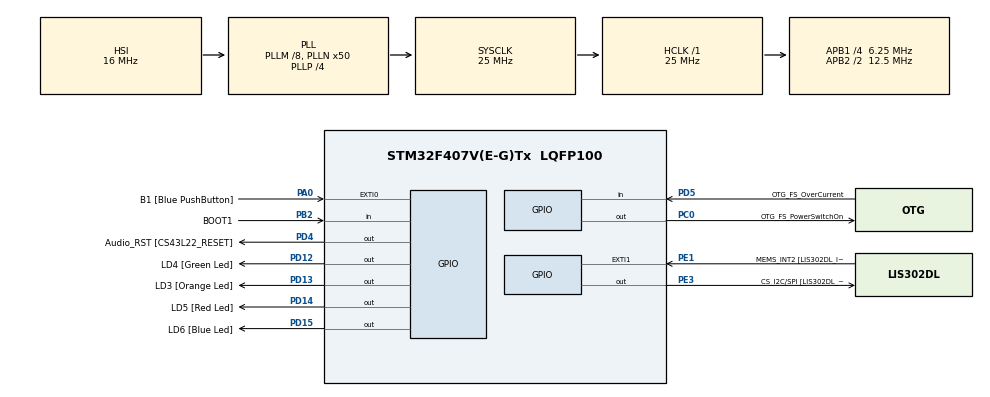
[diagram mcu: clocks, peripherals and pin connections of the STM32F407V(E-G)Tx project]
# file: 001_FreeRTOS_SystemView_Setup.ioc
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Mcu.Family=STM32F4
Mcu.Name=STM32F407V(E-G)Tx
Mcu.Package=LQFP100
NVIC.PriorityGroup=NVIC_PRIORITYGROUP_4
NVIC.TIM6_DAC_IRQn=true\:15\:0\:false\:false\:true\:false\:true\:true
NVIC.TimeBase=TIM6_DAC_IRQn
NVIC.TimeBaseIP=TIM6
PA0-WKUP.GPIO_Label=B1 [Blue PushButton]
PA0-WKUP.Signal=GPXTI0
PA10.GPIO_Label=OTG_FS_ID
PA10.GPIO_Mode=GPIO_MODE_AF_PP
PA10.GPIO_PuPd=GPIO_NOPULL
PA10.GPIO_Speed=GPIO_SPEED_FREQ_LOW
PA10.Signal=USB_OTG_FS_ID
PA11.GPIO_Label=OTG_FS_DM
PA11.GPIO_Mode=GPIO_MODE_AF_PP
PA11.GPIO_PuPd=GPIO_NOPULL
PA11.GPIO_Speed=GPIO_SPEED_FREQ_LOW
PA11.Signal=USB_OTG_FS_DM
PA12.GPIO_Label=OTG_FS_DP
PA12.GPIO_Mode=GPIO_MODE_AF_PP
PA12.GPIO_PuPd=GPIO_NOPULL
PA12.GPIO_Speed=GPIO_SPEED_FREQ_LOW
PA12.Signal=USB_OTG_FS_DP
PA13.GPIO_Label=SWDIO
PA13.Mode=Serial_Wire
PA13.Signal=SYS_JTMS-SWDIO
PA14.GPIO_Label=SWCLK
PA14.Mode=Serial_Wire
PA14.Signal=SYS_JTCK-SWCLK
PA4.GPIO_Label=I2S3_WS [CS43L22_LRCK]
PA4.GPIO_Mode=GPIO_MODE_AF_PP
PA4.GPIO_PuPd=GPIO_NOPULL
PA4.GPIO_Speed=GPIO_SPEED_FREQ_LOW
PA4.Signal=I2S3_WS
PA5.GPIO_Label=SPI1_SCK [LIS302DL_SCL/SPC]
PA5.GPIO_Mode=GPIO_MODE_AF_PP
PA5.GPIO_PuPd=GPIO_NOPULL
PA5.GPIO_Speed=GPIO_SPEED_FREQ_LOW
PA5.Signal=SPI1_SCK
PA6.GPIO_Label=SPI1_MISO [LIS302DL_SDO]
PA6.GPIO_Mode=GPIO_MODE_AF_PP
PA6.GPIO_PuPd=GPIO_NOPULL
PA6.GPIO_Speed=GPIO_SPEED_FREQ_LOW
PA6.Signal=SPI1_MISO
PA7.GPIO_Label=SPI1_MOSI [LIS302DL_SDA/SDI/SDO]
PA7.GPIO_Mode=GPIO_MODE_AF_PP
PA7.GPIO_PuPd=GPIO_NOPULL
PA7.GPIO_Speed=GPIO_SPEED_FREQ_LOW
PA7.Signal=SPI1_MOSI
PA9.GPIO_Label=VBUS_FS
PA9.GPIO_Mode=GPIO_MODE_INPUT
PA9.GPIO_PuPd=GPIO_NOPULL
PA9.Signal=USB_OTG_FS_VBUS
PB10.GPIO_Label=CLK_IN [MP45DT02_CLK]
PB10.GPIO_Mode=GPIO_MODE_AF_PP
PB10.GPIO_PuPd=GPIO_NOPULL
PB10.GPIO_Speed=GPIO_SPEED_FREQ_LOW
PB10.Signal=I2S2_CK
PB2.GPIO_Label=BOOT1
PB2.GPIO_Mode=GPIO_MODE_INPUT
PB2.GPIO_PuPd=GPIO_NOPULL
PB2.Signal=GPIO_Input
PB3.GPIO_Label=SWO
PB3.Signal=SYS_JTDO-SWO
PB6.GPIO_Label=Audio_SCL [CS43L22_SCL]
PB6.GPIO_Mode=GPIO_MODE_AF_OD
PB6.GPIO_PuPd=GPIO_NOPULL
PB6.GPIO_Speed=GPIO_SPEED_FREQ_LOW
PB6.Signal=I2C1_SCL
PB9.GPIO_Label=Audio_SDA [CS43L22_SDA]
PB9.GPIO_Mode=GPIO_MODE_AF_OD
PB9.GPIO_PuPd=GPIO_NOPULL
PB9.GPIO_Speed=GPIO_SPEED_FREQ_LOW
PB9.Signal=I2C1_SDA
PC0.GPIO_Label=OTG_FS_PowerSwitchOn
PC0.GPIO_PuPd=GPIO_NOPULL
PC0.GPIO_Speed=GPIO_SPEED_FREQ_LOW
PC0.PinState=GPIO_PIN_SET
PC0.Signal=GPIO_Output
PC10.GPIO_Label=I2S3_SCK [CS43L22_SCLK]
PC10.GPIO_Mode=GPIO_MODE_AF_PP
PC10.GPIO_PuPd=GPIO_NOPULL
PC10.GPIO_Speed=GPIO_SPEED_FREQ_LOW
PC10.Signal=I2S3_CK
PC12.GPIO_Label=I2S3_SD [CS43L22_SDIN]
PC12.GPIO_Mode=GPIO_MODE_AF_PP
PC12.GPIO_PuPd=GPIO_NOPULL
PC12.GPIO_Speed=GPIO_SPEED_FREQ_LOW
PC12.Signal=I2S3_SD
PC14-OSC32_IN.GPIO_Label=PC14-OSC32_IN
PC14-OSC32_IN.Signal=RCC_OSC32_IN
PC15-OSC32_OUT.GPIO_Label=PC15-OSC32_OUT
PC15-OSC32_OUT.Signal=RCC_OSC32_OUT
PC3.GPIO_Label=PDM_OUT [MP45DT02_DOUT]
PC3.GPIO_Mode=GPIO_MODE_AF_PP
PC3.GPIO_PuPd=GPIO_NOPULL
PC3.GPIO_Speed=GPIO_SPEED_FREQ_LOW
PC3.Signal=I2S2_SD
PC7.GPIO_Label=I2S3_MCK [CS43L22_MCLK]
PC7.GPIO_Mode=GPIO_MODE_AF_PP
PC7.GPIO_PuPd=GPIO_NOPULL
PC7.GPIO_Speed=GPIO_SPEED_FREQ_LOW
PC7.Signal=I2S3_MCK
PD12.GPIO_Label=LD4 [Green Led]
PD12.GPIO_PuPd=GPIO_NOPULL
PD12.GPIO_Speed=GPIO_SPEED_FREQ_LOW
PD12.Signal=GPIO_Output
PD13.GPIO_Label=LD3 [Orange Led]
PD13.GPIO_PuPd=GPIO_NOPULL
PD13.GPIO_Speed=GPIO_SPEED_FREQ_LOW
PD13.Signal=GPIO_Output
PD14.GPIO_Label=LD5 [Red Led]
PD14.GPIO_PuPd=GPIO_NOPULL
PD14.GPIO_Speed=GPIO_SPEED_FREQ_LOW
PD14.Signal=GPIO_Output
PD15.GPIO_Label=LD6 [Blue Led]
PD15.GPIO_PuPd=GPIO_NOPULL
PD15.GPIO_Speed=GPIO_SPEED_FREQ_LOW
PD15.Signal=GPIO_Output
PD4.GPIO_Label=Audio_RST [CS43L22_RESET]
PD4.GPIO_PuPd=GPIO_NOPULL
PD4.GPIO_Speed=GPIO_SPEED_FREQ_LOW
PD4.Signal=GPIO_Output
PD5.GPIO_Label=OTG_FS_OverCurrent
PD5.GPIO_Mode=GPIO_MODE_INPUT
PD5.GPIO_PuPd=GPIO_NOPULL
PD5.Signal=GPIO_Input
PE1.GPIO_Label=MEMS_INT2 [LIS302DL_INT2]
PE1.GPIO_ModeDefaultEXTI=GPIO_MODE_EVT_RISING
PE1.GPIO_PuPd=GPIO_NOPULL
PE1.Signal=GPXTI1
PE3.GPIO_Label=CS_I2C/SPI [LIS302DL_CS_I2C/SPI]
PE3.GPIO_PuPd=GPIO_NOPULL
PE3.GPIO_Speed=GPIO_SPEED_FREQ_LOW
PE3.Signal=GPIO_Output
PH0-OSC_IN.GPIO_Label=PH0-OSC_IN
PH0-OSC_IN.Signal=RCC_OSC_IN
PH1-OSC_OUT.GPIO_Label=PH1-OSC_OUT
PH1-OSC_OUT.Signal=RCC_OSC_OUT
ProjectManager.HeapSize=0x200
ProjectManager.StackSize=0x400
ProjectManager.TargetToolchain=STM32CubeIDE
RCC.48MHZClocksFreq_Value=14285714.285714285
RCC.AHBFreq_Value=25000000
RCC.APB1CLKDivider=RCC_HCLK_DIV4
RCC.APB1Freq_Value=6250000
RCC.APB1TimFreq_Value=12500000
RCC.APB2CLKDivider=RCC_HCLK_DIV2
RCC.APB2Freq_Value=12500000
RCC.APB2TimFreq_Value=25000000
RCC.CortexFreq_Value=25000000
RCC.HCLKFreq_Value=25000000
RCC.HSE_VALUE=8000000
RCC.HSI_VALUE=16000000
RCC.LSE_VALUE=32768
RCC.PLLM=8
RCC.PLLN=50
RCC.PLLP=RCC_PLLP_DIV4
RCC.PLLQ=7
RCC.SYSCLKFreq_VALUE=25000000
RCC.SYSCLKSource=RCC_SYSCLKSOURCE_PLLCLK
RCC.VCOOutputFreq_Value=100000000
VP_SYS_VS_tim6.Mode=TIM6
board=STM32F407G-DISC1

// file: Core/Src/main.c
/* USER CODE BEGIN Header */
/**
  ******************************************************************************
  * @file           : main.c
  * @brief          : Main program body
  ******************************************************************************
  * @attention
  *
  * <h2><center>&copy; Copyright (c) 2021 STMicroelectronics.
  * All rights reserved.</center></h2>
  *
  * This software component is licensed by ST under BSD 3-Clause license,
  * the "License"; You may not use this file except in compliance with the
  * License. You may obtain a copy of the License at:
  *                        opensource.org/licenses/BSD-3-Clause
  *
  ******************************************************************************
  */
/* USER CODE END Header */
#include "main.h"

/* USER CODE BEGIN Includes */
#include <stdio.h>
#include "FreeRTOS.h"
#include "task.h"

/* USER CODE END Includes */

/* USER CODE BEGIN PV */

#define DWT_CTRL    (*(volatile uint32_t*)0xE0001000)

/* USER CODE END PV */

void SystemClock_Config(void);
static void MX_GPIO_Init(void);
/* USER CODE BEGIN PFP */

static void task1_handler(void* parameters);
static void task2_handler(void* parameters);

//extern  void SEGGER_UART_init(uint32_t);

/* USER CODE END PFP */

int main(void)
{
  /* USER CODE BEGIN 1 */

	TaskHandle_t task1_handle;
	TaskHandle_t task2_handle;

	BaseType_t status;

  /* USER CODE END 1 */

  /* MCU Configuration--------------------------------------------------------*/

  /* Reset of all peripherals, Initializes the Flash interface and the Systick. */
  HAL_Init();

  /* Configure the system clock */
  SystemClock_Config();

  /* Initialize all configured peripherals */
  MX_GPIO_Init();
  /* USER CODE BEGIN 2 */

  //Enable the CYCCNT counter.
  DWT_CTRL |= ( 1 << 0);

 // SEGGER_UART_init(500000);

  SEGGER_SYSVIEW_Conf();

  SEGGER_SYSVIEW_Start();

  status = xTaskCreate(task1_handler, "Task-1", 200, "Hello world from Task-1", 2, &task1_handle);

  configASSERT(status == pdPASS);

  status = xTaskCreate(task2_handler, "Task-2", 200, "Hello world from Task-2", 2, &task2_handle);

  configASSERT(status == pdPASS);

  //start the freeRTOS scheduler
  vTaskStartScheduler();

  //if the control comes here, then the launch of the scheduler has failed due to
  //insufficient memory in heap

  /* USER CODE END 2 */

  /* Infinite loop */
  while (1)
  {

  }
}

void SystemClock_Config(void)
{
  RCC_OscInitTypeDef RCC_OscInitStruct = {0};
  RCC_ClkInitTypeDef RCC_ClkInitStruct = {0};

  /** Configure the main internal regulator output voltage
  */
  __HAL_RCC_PWR_CLK_ENABLE();
  __HAL_PWR_VOLTAGESCALING_CONFIG(PWR_REGULATOR_VOLTAGE_SCALE1);

  /** Initializes the RCC Oscillators according to the specified parameters
  * in the RCC_OscInitTypeDef structure.
  */
  RCC_OscInitStruct.OscillatorType = RCC_OSCILLATORTYPE_HSI;
  RCC_OscInitStruct.HSIState = RCC_HSI_ON;
  RCC_OscInitStruct.HSICalibrationValue = RCC_HSICALIBRATION_DEFAULT;
  RCC_OscInitStruct.PLL.PLLState = RCC_PLL_ON;
  RCC_OscInitStruct.PLL.PLLSource = RCC_PLLSOURCE_HSI;
  RCC_OscInitStruct.PLL.PLLM = 8;
  RCC_OscInitStruct.PLL.PLLN = 50;
  RCC_OscInitStruct.PLL.PLLP = RCC_PLLP_DIV4;
  RCC_OscInitStruct.PLL.PLLQ = 7;
  if (HAL_RCC_OscConfig(&RCC_OscInitStruct) != HAL_OK)
  {
    Error_Handler();
  }

  /** Initializes the CPU, AHB and APB buses clocks
  */
  RCC_ClkInitStruct.ClockType = RCC_CLOCKTYPE_HCLK|RCC_CLOCKTYPE_SYSCLK
                              |RCC_CLOCKTYPE_PCLK1|RCC_CLOCKTYPE_PCLK2;
  RCC_ClkInitStruct.SYSCLKSource = RCC_SYSCLKSOURCE_PLLCLK;
  RCC_ClkInitStruct.AHBCLKDivider = RCC_SYSCLK_DIV1;
  RCC_ClkInitStruct.APB1CLKDivider = RCC_HCLK_DIV4;
  RCC_ClkInitStruct.APB2CLKDivider = RCC_HCLK_DIV2;

  if (HAL_RCC_ClockConfig(&RCC_ClkInitStruct, FLASH_LATENCY_0) != HAL_OK)
  {
    Error_Handler();
  }
}

static void MX_GPIO_Init(void)
{
  GPIO_InitTypeDef GPIO_InitStruct = {0};

  /* GPIO Ports Clock Enable */
  __HAL_RCC_GPIOE_CLK_ENABLE();
  __HAL_RCC_GPIOC_CLK_ENABLE();
  __HAL_RCC_GPIOH_CLK_ENABLE();
  __HAL_RCC_GPIOA_CLK_ENABLE();
  __HAL_RCC_GPIOB_CLK_ENABLE();
  __HAL_RCC_GPIOD_CLK_ENABLE();

  /*Configure GPIO pin Output Level */
  HAL_GPIO_WritePin(CS_I2C_SPI_GPIO_Port, CS_I2C_SPI_Pin, GPIO_PIN_RESET);

  /*Configure GPIO pin Output Level */
  HAL_GPIO_WritePin(OTG_FS_PowerSwitchOn_GPIO_Port, OTG_FS_PowerSwitchOn_Pin, GPIO_PIN_SET);

  /*Configure GPIO pin Output Level */
  HAL_GPIO_WritePin(GPIOD, LD4_Pin|LD3_Pin|LD5_Pin|LD6_Pin
                          |Audio_RST_Pin, GPIO_PIN_RESET);

  /*Configure GPIO pin : CS_I2C_SPI_Pin */
  GPIO_InitStruct.Pin = CS_I2C_SPI_Pin;
  GPIO_InitStruct.Mode = GPIO_MODE_OUTPUT_PP;
  GPIO_InitStruct.Pull = GPIO_NOPULL;
  GPIO_InitStruct.Speed = GPIO_SPEED_FREQ_LOW;
  HAL_GPIO_Init(CS_I2C_SPI_GPIO_Port, &GPIO_InitStruct);

  /*Configure GPIO pin : OTG_FS_PowerSwitchOn_Pin */
  GPIO_InitStruct.Pin = OTG_FS_PowerSwitchOn_Pin;
  GPIO_InitStruct.Mode = GPIO_MODE_OUTPUT_PP;
  GPIO_InitStruct.Pull = GPIO_NOPULL;
  GPIO_InitStruct.Speed = GPIO_SPEED_FREQ_LOW;
  HAL_GPIO_Init(OTG_FS_PowerSwitchOn_GPIO_Port, &GPIO_InitStruct);

  /*Configure GPIO pin : PDM_OUT_Pin */
  GPIO_InitStruct.Pin = PDM_OUT_Pin;
  GPIO_InitStruct.Mode = GPIO_MODE_AF_PP;
  GPIO_InitStruct.Pull = GPIO_NOPULL;
  GPIO_InitStruct.Speed = GPIO_SPEED_FREQ_LOW;
  GPIO_InitStruct.Alternate = GPIO_AF5_SPI2;
  HAL_GPIO_Init(PDM_OUT_GPIO_Port, &GPIO_InitStruct);

  /*Configure GPIO pin : B1_Pin */
  GPIO_InitStruct.Pin = B1_Pin;
  GPIO_InitStruct.Mode = GPIO_MODE_IT_RISING;
  GPIO_InitStruct.Pull = GPIO_NOPULL;
  HAL_GPIO_Init(B1_GPIO_Port, &GPIO_InitStruct);

  /*Configure GPIO pin : I2S3_WS_Pin */
  GPIO_InitStruct.Pin = I2S3_WS_Pin;
  GPIO_InitStruct.Mode = GPIO_MODE_AF_PP;
  GPIO_InitStruct.Pull = GPIO_NOPULL;
  GPIO_InitStruct.Speed = GPIO_SPEED_FREQ_LOW;
  GPIO_InitStruct.Alternate = GPIO_AF6_SPI3;
  HAL_GPIO_Init(I2S3_WS_GPIO_Port, &GPIO_InitStruct);

  /*Configure GPIO pins : SPI1_SCK_Pin SPI1_MISO_Pin SPI1_MOSI_Pin */
  GPIO_InitStruct.Pin = SPI1_SCK_Pin|SPI1_MISO_Pin|SPI1_MOSI_Pin;
  GPIO_InitStruct.Mode = GPIO_MODE_AF_PP;
  GPIO_InitStruct.Pull = GPIO_NOPULL;
  GPIO_InitStruct.Speed = GPIO_SPEED_FREQ_LOW;
  GPIO_InitStruct.Alternate = GPIO_AF5_SPI1;
  HAL_GPIO_Init(GPIOA, &GPIO_InitStruct);

  /*Configure GPIO pin : BOOT1_Pin */
  GPIO_InitStruct.Pin = BOOT1_Pin;
  GPIO_InitStruct.Mode = GPIO_MODE_INPUT;
  GPIO_InitStruct.Pull = GPIO_NOPULL;
  HAL_GPIO_Init(BOOT1_GPIO_Port, &GPIO_InitStruct);

  /*Configure GPIO pin : CLK_IN_Pin */
  GPIO_InitStruct.Pin = CLK_IN_Pin;
  GPIO_InitStruct.Mode = GPIO_MODE_AF_PP;
  GPIO_InitStruct.Pull = GPIO_NOPULL;
  GPIO_InitStruct.Speed = GPIO_SPEED_FREQ_LOW;
  GPIO_InitStruct.Alternate = GPIO_AF5_SPI2;
  HAL_GPIO_Init(CLK_IN_GPIO_Port, &GPIO_InitStruct);

  /*Configure GPIO pins : LD4_Pin LD3_Pin LD5_Pin LD6_Pin
                           Audio_RST_Pin */
  GPIO_InitStruct.Pin = LD4_Pin|LD3_Pin|LD5_Pin|LD6_Pin
                          |Audio_RST_Pin;
  GPIO_InitStruct.Mode = GPIO_MODE_OUTPUT_PP;
  GPIO_InitStruct.Pull = GPIO_NOPULL;
  GPIO_InitStruct.Speed = GPIO_SPEED_FREQ_LOW;
  HAL_GPIO_Init(GPIOD, &GPIO_InitStruct);

  /*Configure GPIO pins : I2S3_MCK_Pin I2S3_SCK_Pin I2S3_SD_Pin */
  GPIO_InitStruct.Pin = I2S3_MCK_Pin|I2S3_SCK_Pin|I2S3_SD_Pin;
  GPIO_InitStruct.Mode = GPIO_MODE_AF_PP;
  GPIO_InitStruct.Pull = GPIO_NOPULL;
  GPIO_InitStruct.Speed = GPIO_SPEED_FREQ_LOW;
  GPIO_InitStruct.Alternate = GPIO_AF6_SPI3;
  HAL_GPIO_Init(GPIOC, &GPIO_InitStruct);

  /*Configure GPIO pin : VBUS_FS_Pin */
  GPIO_InitStruct.Pin = VBUS_FS_Pin;
  GPIO_InitStruct.Mode = GPIO_MODE_INPUT;
  GPIO_InitStruct.Pull = GPIO_NOPULL;
  HAL_GPIO_Init(VBUS_FS_GPIO_Port, &GPIO_InitStruct);

  /*Configure GPIO pins : OTG_FS_ID_Pin OTG_FS_DM_Pin OTG_FS_DP_Pin */
  GPIO_InitStruct.Pin = OTG_FS_ID_Pin|OTG_FS_DM_Pin|OTG_FS_DP_Pin;
  GPIO_InitStruct.Mode = GPIO_MODE_AF_PP;
  GPIO_InitStruct.Pull = GPIO_NOPULL;
  GPIO_InitStruct.Speed = GPIO_SPEED_FREQ_LOW;
  GPIO_InitStruct.Alternate = GPIO_AF10_OTG_FS;
  HAL_GPIO_Init(GPIOA, &GPIO_InitStruct);

  /*Configure GPIO pin : OTG_FS_OverCurrent_Pin */
  GPIO_InitStruct.Pin = OTG_FS_OverCurrent_Pin;
  GPIO_InitStruct.Mode = GPIO_MODE_INPUT;
  GPIO_InitStruct.Pull = GPIO_NOPULL;
  HAL_GPIO_Init(OTG_FS_OverCurrent_GPIO_Port, &GPIO_InitStruct);

  /*Configure GPIO pins : Audio_SCL_Pin Audio_SDA_Pin */
  GPIO_InitStruct.Pin = Audio_SCL_Pin|Audio_SDA_Pin;
  GPIO_InitStruct.Mode = GPIO_MODE_AF_OD;
  GPIO_InitStruct.Pull = GPIO_NOPULL;
  GPIO_InitStruct.Speed = GPIO_SPEED_FREQ_LOW;
  GPIO_InitStruct.Alternate = GPIO_AF4_I2C1;
  HAL_GPIO_Init(GPIOB, &GPIO_InitStruct);

  /*Configure GPIO pin : MEMS_INT2_Pin */
  GPIO_InitStruct.Pin = MEMS_INT2_Pin;
  GPIO_InitStruct.Mode = GPIO_MODE_EVT_RISING;
  GPIO_InitStruct.Pull = GPIO_NOPULL;
  HAL_GPIO_Init(MEMS_INT2_GPIO_Port, &GPIO_InitStruct);

}

/* USER CODE BEGIN 4 */

static void task1_handler(void* parameters)
{

	char msg[100];

	while(1)
	{
		snprintf(msg,100,"%s\n", (char*)parameters);
		HAL_GPIO_TogglePin(GPIOD, GPIO_PIN_13);
		printf("Task 1 is running\r\n");
	    //HAL_Delay(500);
		SEGGER_SYSVIEW_PrintfTarget(msg);
		taskYIELD();
	}

}

static void task2_handler(void* parameters)
{
	char msg[100];
	while(1)
	{
		snprintf(msg,100,"%s\n", (char*)parameters);
		HAL_GPIO_TogglePin(GPIOD, GPIO_PIN_12);
		printf("Task 2 is Running\r\n");
		HAL_Delay(500);
		SEGGER_SYSVIEW_PrintfTarget(msg);
		taskYIELD();
	}

}

/* USER CODE END 4 */

void HAL_TIM_PeriodElapsedCallback(TIM_HandleTypeDef *htim)
{
  if (htim->Instance == TIM6) {
    HAL_IncTick();
  }
}

void Error_Handler(void)
{
}
